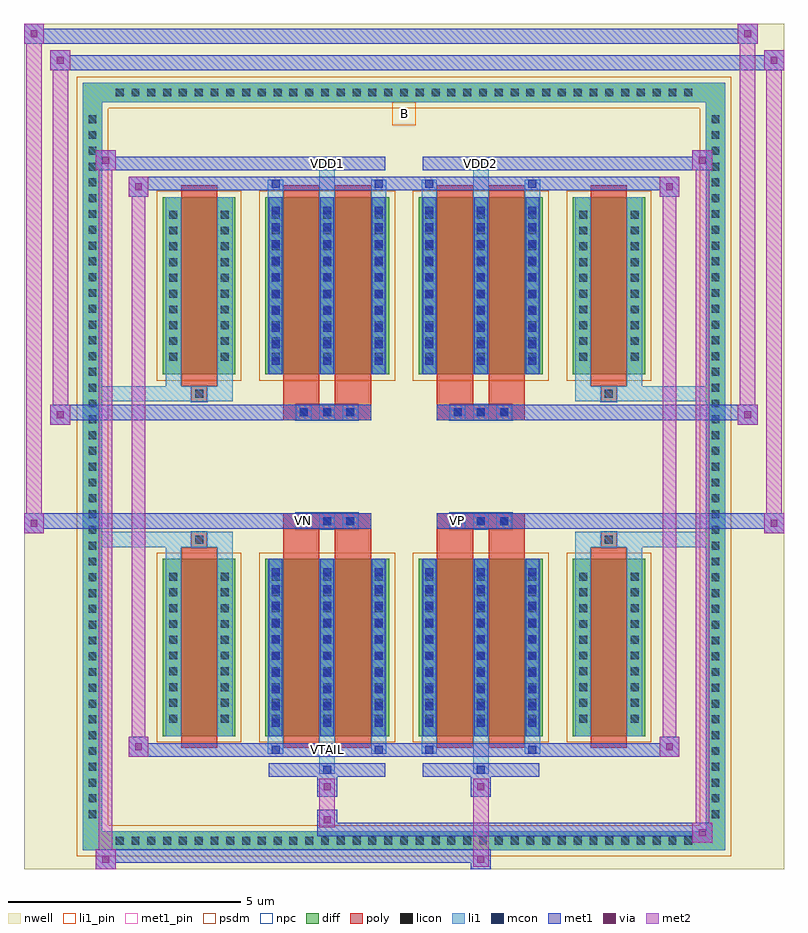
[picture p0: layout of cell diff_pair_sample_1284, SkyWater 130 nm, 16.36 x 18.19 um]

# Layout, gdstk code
import gdstk
lib = gdstk.Library(unit=1e-6, precision=5e-09)
def R(c, l, rs):  # rectangles x0, y0, x1, y1
    for r in rs: c.add(gdstk.rectangle(r[:2], r[2:], *l))
def A(c, l, x, y, w, h, nx, ny, dx, dy):  # array of equal rectangles
    R(c, l, [(x+i*dx, y+j*dy, x+i*dx+w, y+j*dy+h) for i in range(nx) for j in range(ny)])
def P(c, l, *ps):  # polygons
    for p in ps: c.add(gdstk.Polygon(p, *l))
nwell = (64, 20)
diff = (65, 20)
poly = (66, 20)
licon = (66, 44)
li1_pin = (67, 16)
li1 = (67, 20)
mcon = (67, 44)
met1_pin = (68, 16)
met1 = (68, 20)
via = (68, 44)
met2 = (69, 20)
psdm = (94, 20)
npc = (95, 20)

diff_pair_sample_1284 = lib.new_cell('diff_pair_sample_1284')
R(diff_pair_sample_1284, nwell, [(-8.18,-8.66,8.18,9.53), (-5.5,-6.85,-0.01,-0.805), (0.01,-6.85,5.5,-0.805), (-5.5,0.805,-0.01,6.85), (0.01,0.805,5.5,6.85)])
A(diff_pair_sample_1284, diff, -6.325, -8.26, 0.41, 0.41, 37, 2, 0.34, 16.11)
A(diff_pair_sample_1284, diff, -6.91, -7.685, 0.41, 0.41, 1, 45, 0, 0.34)
A(diff_pair_sample_1284, diff, 6.5, -7.685, 0.41, 0.41, 1, 45, 0, 0.34)
R(diff_pair_sample_1284, diff, [(-6.325,-8.26,6.325,-7.85), (-6.91,-7.685,-6.5,7.685), (6.5,-7.685,6.91,7.685), (-5.19,-5.805,-3.63,-1.985), (-2.99,-5.805,-0.32,-1.985), (0.32,-5.805,2.99,-1.985), (3.63,-5.805,5.19,-1.985), (-5.19,1.985,-3.63,5.805), (-2.99,1.985,-0.32,5.805), (0.32,1.985,2.99,5.805), (3.63,1.985,5.19,5.805), (-6.325,7.85,6.325,8.26)])
P(diff_pair_sample_1284, diff, [(6.91,8.26),(-6.91,8.26),(-6.91,-7.85),(-6.5,-7.85),(-6.5,7.85),(6.5,7.85),(6.5,-7.85),(-6.5,-7.85),(-6.91,-7.85),(-6.91,-8.26),(6.91,-8.26)])
A(diff_pair_sample_1284, poly, -2.32, -1.335, 0.33, 0.33, 3, 2, 0.5, 2.34)
A(diff_pair_sample_1284, poly, 0.99, -1.335, 0.33, 0.33, 3, 2, 0.5, 2.34)
R(diff_pair_sample_1284, poly, [(-4.8,-6.055,-4.02,-1.735), (-2.6,-6.055,-1.82,-1.735), (-1.49,-6.055,-0.71,-1.735), (0.71,-6.055,1.49,-1.735), (1.82,-6.055,2.6,-1.735), (4.02,-6.055,4.8,-1.735), (-4.575,-1.735,-4.245,-1.405), (-4.575,-1.735,-4.245,-1.405), (-2.6,-1.735,-1.82,-1.335), (-1.49,-1.735,-0.71,-1.335), (0.71,-1.735,1.49,-1.335), (1.82,-1.735,2.6,-1.335), (4.245,-1.735,4.575,-1.405), (4.245,-1.735,4.575,-1.405), (-2.6,-1.335,-0.71,-1.005), (0.71,-1.335,2.6,-1.005), (-2.6,1.005,-0.71,1.335), (0.71,1.005,2.6,1.335), (-2.6,1.335,-1.82,1.735), (-1.49,1.335,-0.71,1.735), (0.71,1.335,1.49,1.735), (1.82,1.335,2.6,1.735), (-4.575,1.405,-4.245,1.735), (-4.575,1.405,-4.245,1.735), (4.245,1.405,4.575,1.735), (4.245,1.405,4.575,1.735), (-4.8,1.735,-4.02,6.055), (-2.6,1.735,-1.82,6.055), (-1.49,1.735,-0.71,6.055), (0.71,1.735,1.49,6.055), (1.82,1.735,2.6,6.055), (4.02,1.735,4.8,6.055)])
A(diff_pair_sample_1284, licon, -6.205, -8.14, 0.17, 0.17, 37, 2, 0.34, 16.11)
A(diff_pair_sample_1284, licon, -6.79, -7.565, 0.17, 0.17, 1, 45, 0, 0.34)
A(diff_pair_sample_1284, licon, 6.62, -7.565, 0.17, 0.17, 1, 45, 0, 0.34)
A(diff_pair_sample_1284, licon, -5.05, -5.51, 0.17, 0.17, 1, 10, 0, 0.34)
A(diff_pair_sample_1284, licon, -3.94, -5.51, 0.17, 0.17, 1, 10, 0, 0.34)
A(diff_pair_sample_1284, licon, -2.85, -5.51, 0.17, 0.17, 3, 10, 1.11, 0.34)
A(diff_pair_sample_1284, licon, 0.46, -5.51, 0.17, 0.17, 3, 10, 1.11, 0.34)
A(diff_pair_sample_1284, licon, 3.77, -5.51, 0.17, 0.17, 1, 10, 0, 0.34)
A(diff_pair_sample_1284, licon, 4.88, -5.51, 0.17, 0.17, 1, 10, 0, 0.34)
A(diff_pair_sample_1284, licon, -2.24, -1.255, 0.17, 0.17, 3, 2, 0.5, 2.34)
A(diff_pair_sample_1284, licon, 1.07, -1.255, 0.17, 0.17, 3, 2, 0.5, 2.34)
A(diff_pair_sample_1284, licon, -5.05, 2.28, 0.17, 0.17, 1, 10, 0, 0.34)
A(diff_pair_sample_1284, licon, -3.94, 2.28, 0.17, 0.17, 1, 10, 0, 0.34)
A(diff_pair_sample_1284, licon, -2.85, 2.28, 0.17, 0.17, 3, 10, 1.11, 0.34)
A(diff_pair_sample_1284, licon, 0.46, 2.28, 0.17, 0.17, 3, 10, 1.11, 0.34)
A(diff_pair_sample_1284, licon, 3.77, 2.28, 0.17, 0.17, 1, 10, 0, 0.34)
A(diff_pair_sample_1284, licon, 4.88, 2.28, 0.17, 0.17, 1, 10, 0, 0.34)
R(diff_pair_sample_1284, licon, [(-4.495,-1.655,-4.325,-1.485), (4.325,-1.655,4.495,-1.485), (-4.495,1.485,-4.325,1.655), (4.325,1.485,4.495,1.655)])
R(diff_pair_sample_1284, li1_pin, [(-0.25,7.35,0.25,7.85)])
A(diff_pair_sample_1284, li1, -6.285, -8.22, 0.33, 0.33, 37, 2, 0.34, 16.11)
A(diff_pair_sample_1284, li1, -6.87, -7.645, 0.33, 0.33, 1, 45, 0, 0.34)
A(diff_pair_sample_1284, li1, 6.54, -7.645, 0.33, 0.33, 1, 45, 0, 0.34)
A(diff_pair_sample_1284, li1, -2.93, -5.805, 0.33, 3.82, 3, 2, 1.11, 7.79)
A(diff_pair_sample_1284, li1, 0.38, -5.805, 0.33, 3.82, 3, 2, 1.11, 7.79)
A(diff_pair_sample_1284, li1, -2.85, -5.6, 0.17, 0.17, 3, 10, 1.11, 0.36)
A(diff_pair_sample_1284, li1, -2.85, -5.6, 0.17, 3.41, 3, 2, 1.11, 7.79)
A(diff_pair_sample_1284, li1, 0.46, -5.6, 0.17, 0.17, 3, 10, 1.11, 0.36)
A(diff_pair_sample_1284, li1, 0.46, -5.6, 0.17, 3.41, 3, 2, 1.11, 7.79)
A(diff_pair_sample_1284, li1, -5.13, -5.59, 0.33, 0.33, 1, 10, 0, 0.34)
A(diff_pair_sample_1284, li1, -4.02, -5.59, 0.33, 0.33, 1, 10, 0, 0.34)
A(diff_pair_sample_1284, li1, -2.93, -5.59, 0.33, 0.33, 3, 10, 1.11, 0.34)
A(diff_pair_sample_1284, li1, 0.38, -5.59, 0.33, 0.33, 3, 10, 1.11, 0.34)
A(diff_pair_sample_1284, li1, 3.69, -5.59, 0.33, 0.33, 1, 10, 0, 0.34)
A(diff_pair_sample_1284, li1, 4.8, -5.59, 0.33, 0.33, 1, 10, 0, 0.34)
A(diff_pair_sample_1284, li1, -2.32, -1.335, 0.33, 0.33, 3, 2, 0.5, 2.34)
A(diff_pair_sample_1284, li1, 0.99, -1.335, 0.33, 0.33, 3, 2, 0.5, 2.34)
A(diff_pair_sample_1284, li1, -2.85, 2.19, 0.17, 0.17, 3, 10, 1.11, 0.36)
A(diff_pair_sample_1284, li1, 0.46, 2.19, 0.17, 0.17, 3, 10, 1.11, 0.36)
A(diff_pair_sample_1284, li1, -5.13, 2.2, 0.33, 0.33, 1, 10, 0, 0.34)
A(diff_pair_sample_1284, li1, -4.02, 2.2, 0.33, 0.33, 1, 10, 0, 0.34)
A(diff_pair_sample_1284, li1, -2.93, 2.2, 0.33, 0.33, 3, 10, 1.11, 0.34)
A(diff_pair_sample_1284, li1, 0.38, 2.2, 0.33, 0.33, 3, 10, 1.11, 0.34)
A(diff_pair_sample_1284, li1, 3.69, 2.2, 0.33, 0.33, 1, 10, 0, 0.34)
A(diff_pair_sample_1284, li1, 4.8, 2.2, 0.33, 0.33, 1, 10, 0, 0.34)
R(diff_pair_sample_1284, li1, [(-6.91,-8.26,-6.5,-7.85), (-6.91,-8.26,-6.5,-7.85), (-6.5,-8.26,6.5,-7.85), (6.5,-8.26,6.91,-7.85), (6.5,-8.26,6.91,-7.85), (-6.91,-7.85,-6.5,7.85), (6.5,-7.85,6.91,7.85), (-1.82,-6.61,-1.49,-5.805), (-1.74,-6.61,-1.57,-6.44), (1.49,-6.61,1.82,-5.805), (1.57,-6.61,1.74,-6.44), (-2.93,-6.18,-2.6,-5.805), (-2.85,-6.18,-2.68,-6.01), (-0.71,-6.18,-0.38,-5.805), (-0.63,-6.18,-0.46,-6.01), (0.38,-6.18,0.71,-5.805), (0.46,-6.18,0.63,-6.01), (2.6,-6.18,2.93,-5.805), (2.68,-6.18,2.85,-6.01), (-5.13,-5.805,-4.8,-1.985), (-4.02,-5.805,-3.69,-1.985), (3.69,-5.805,4.02,-1.985), (4.8,-5.805,5.13,-1.985), (-5.13,-1.985,-4.8,-1.405), (-4.02,-1.985,-3.69,-1.405), (3.69,-1.985,4.02,-1.405), (4.8,-1.985,5.13,-1.405), (-6.91,-1.735,-4.575,-1.405), (-5.13,-1.735,-4.575,-1.405), (-4.575,-1.735,-4.245,-1.405), (-4.245,-1.735,-3.69,-1.405), (3.69,-1.735,4.245,-1.405), (4.245,-1.735,4.575,-1.405), (4.245,-1.735,6.91,-1.405), (4.575,-1.735,5.13,-1.405), (-6.91,1.405,-4.575,1.735), (-5.13,1.405,-4.575,1.735), (-5.13,1.405,-4.8,1.985), (-4.575,1.405,-4.245,1.735), (-4.245,1.405,-3.69,1.735), (-4.02,1.405,-3.69,1.985), (3.69,1.405,4.245,1.735), (3.69,1.405,4.02,1.985), (4.245,1.405,4.575,1.735), (4.245,1.405,6.91,1.735), (4.575,1.405,5.13,1.735), (4.8,1.405,5.13,1.985), (-5.13,1.985,-4.8,5.805), (-4.02,1.985,-3.69,5.805), (3.69,1.985,4.02,5.805), (4.8,1.985,5.13,5.805), (-2.93,5.805,-2.6,6.18), (-1.82,5.805,-1.49,6.61), (-0.71,5.805,-0.38,6.18), (0.38,5.805,0.71,6.18), (1.49,5.805,1.82,6.61), (2.6,5.805,2.93,6.18), (-2.85,6.01,-2.68,6.18), (-0.63,6.01,-0.46,6.18), (0.46,6.01,0.63,6.18), (2.68,6.01,2.85,6.18), (-1.74,6.44,-1.57,6.61), (1.57,6.44,1.74,6.61), (-6.91,7.85,-6.5,8.26), (-6.91,7.85,-6.5,8.26), (-6.5,7.85,6.5,8.26), (6.5,7.85,6.91,8.26), (6.5,7.85,6.91,8.26)])
A(diff_pair_sample_1284, mcon, -2.85, -5.6, 0.17, 0.17, 3, 10, 1.11, 0.36)
A(diff_pair_sample_1284, mcon, 0.46, -5.6, 0.17, 0.17, 3, 10, 1.11, 0.36)
A(diff_pair_sample_1284, mcon, -2.24, -1.255, 0.17, 0.17, 3, 2, 0.5, 2.34)
A(diff_pair_sample_1284, mcon, 1.07, -1.255, 0.17, 0.17, 3, 2, 0.5, 2.34)
A(diff_pair_sample_1284, mcon, -2.85, 2.19, 0.17, 0.17, 3, 10, 1.11, 0.36)
A(diff_pair_sample_1284, mcon, 0.46, 2.19, 0.17, 0.17, 3, 10, 1.11, 0.36)
R(diff_pair_sample_1284, mcon, [(-1.74,-6.61,-1.57,-6.44), (1.57,-6.61,1.74,-6.44), (-2.85,-6.18,-2.68,-6.01), (-0.63,-6.18,-0.46,-6.01), (0.46,-6.18,0.63,-6.01), (2.68,-6.18,2.85,-6.01), (-2.85,6.01,-2.68,6.18), (-0.63,6.01,-0.46,6.18), (0.46,6.01,0.63,6.18), (2.68,6.01,2.85,6.18), (-1.74,6.44,-1.57,6.61), (1.57,6.44,1.74,6.61)])
R(diff_pair_sample_1284, met1_pin, [(-1.79,-6.22,-1.52,-5.95), (-2.29,-1.295,-2.02,-1.025), (1.02,-1.295,1.29,-1.025), (-1.79,6.4,-1.52,6.67), (1.52,6.4,1.79,6.67)])
A(diff_pair_sample_1284, met1, -2.91, -5.805, 0.29, 3.82, 3, 2, 1.11, 7.79)
A(diff_pair_sample_1284, met1, 0.4, -5.805, 0.29, 3.82, 3, 2, 1.11, 7.79)
A(diff_pair_sample_1284, met1, -2.91, -5.66, 0.29, 0.29, 3, 10, 1.11, 0.36)
A(diff_pair_sample_1284, met1, 0.4, -5.66, 0.29, 0.29, 3, 10, 1.11, 0.36)
A(diff_pair_sample_1284, met1, -2.3, -1.315, 0.29, 0.29, 3, 2, 0.5, 2.34)
A(diff_pair_sample_1284, met1, 1.01, -1.315, 0.29, 0.29, 3, 2, 0.5, 2.34)
A(diff_pair_sample_1284, met1, -2.91, 2.13, 0.29, 0.29, 3, 10, 1.11, 0.36)
A(diff_pair_sample_1284, met1, 0.4, 2.13, 0.29, 0.29, 3, 10, 1.11, 0.36)
R(diff_pair_sample_1284, met1, [(-6.64,-8.66,-6.21,-8.23), (1.44,-8.66,1.87,-8.23), (-6.64,-8.52,1.87,-8.23), (6.21,-8.09,6.64,-7.66), (-1.87,-7.95,6.64,-7.66), (-1.87,-7.81,-1.44,-7.38), (-1.87,-7.1,-1.44,-6.67), (1.44,-7.1,1.87,-6.67), (-2.91,-6.67,-0.4,-6.38), (-1.8,-6.67,-1.51,-6.38), (0.4,-6.67,2.91,-6.38), (1.51,-6.67,1.8,-6.38), (-5.93,-6.24,-5.5,-5.81), (-5.93,-6.24,-2.91,-5.95), (-2.91,-6.24,-2.62,-5.95), (-2.91,-6.24,-0.4,-5.95), (-0.69,-6.24,-0.4,-5.95), (-0.4,-6.24,0.4,-5.95), (0.4,-6.24,0.69,-5.95), (0.4,-6.24,2.91,-5.95), (2.62,-6.24,2.91,-5.95), (2.91,-6.24,5.93,-5.95), (5.5,-6.24,5.93,-5.81), (-8.18,-1.435,-7.75,-1.005), (7.75,-1.435,8.18,-1.005), (-8.18,-1.335,-0.71,-1.005), (-2.6,-1.335,-0.71,-1.005), (0.71,-1.335,2.6,-1.005), (0.71,-1.335,8.18,-1.005), (-7.61,0.905,-7.18,1.335), (7.18,0.905,7.61,1.335), (-7.61,1.005,-2.6,1.335), (-2.6,1.005,-0.71,1.335), (0.71,1.005,2.6,1.335), (2.6,1.005,7.61,1.335), (-5.93,5.81,-5.5,6.24), (5.5,5.81,5.93,6.24), (-5.93,5.95,-2.91,6.24), (-2.91,5.95,-2.62,6.24), (-2.91,5.95,-0.4,6.24), (-0.69,5.95,-0.4,6.24), (-0.4,5.95,0.4,6.24), (0.4,5.95,0.69,6.24), (0.4,5.95,2.91,6.24), (2.62,5.95,2.91,6.24), (2.91,5.95,5.93,6.24), (-6.64,6.38,-6.21,6.81), (-6.64,6.38,-2.91,6.67), (-2.91,6.38,-0.4,6.67), (-1.8,6.38,-1.51,6.67), (0.4,6.38,2.91,6.67), (1.51,6.38,1.8,6.67), (2.91,6.38,6.64,6.67), (6.21,6.38,6.64,6.81), (-7.61,8.53,-7.18,8.96), (-7.61,8.53,-5.5,8.86), (-5.5,8.53,5.5,8.86), (5.5,8.53,8.18,8.86), (7.75,8.53,8.18,8.96), (-8.18,9.1,-7.75,9.53), (-8.18,9.1,-5.5,9.43), (-5.5,9.1,5.5,9.43), (5.5,9.1,7.61,9.43), (7.18,9.1,7.61,9.53)])
R(diff_pair_sample_1284, via, [(-6.5,-8.52,-6.35,-8.37), (1.58,-8.52,1.73,-8.37), (6.35,-7.95,6.5,-7.8), (-1.73,-7.67,-1.58,-7.52), (-1.73,-6.96,-1.58,-6.81), (1.58,-6.96,1.73,-6.81), (-5.79,-6.1,-5.64,-5.95), (5.64,-6.1,5.79,-5.95), (-8.04,-1.295,-7.89,-1.145), (7.89,-1.295,8.04,-1.145), (-7.47,1.045,-7.32,1.195), (7.32,1.045,7.47,1.195), (-5.79,5.95,-5.64,6.1), (5.64,5.95,5.79,6.1), (-6.5,6.52,-6.35,6.67), (6.35,6.52,6.5,6.67), (-7.47,8.67,-7.32,8.82), (7.89,8.67,8.04,8.82), (-8.04,9.24,-7.89,9.39), (7.32,9.24,7.47,9.39)])
R(diff_pair_sample_1284, met2, [(-6.64,-8.66,-6.21,-8.23), (-6.57,-8.66,-6.28,6.81), (-6.28,-8.66,-6.21,-8.23), (-6.59,-8.61,-6.26,-8.28), (1.49,-8.61,1.82,-8.28), (1.49,-8.28,1.82,-7.05), (6.21,-8.09,6.64,-7.66), (6.28,-8.09,6.57,6.81), (6.57,-8.09,6.64,-7.66), (6.26,-8.04,6.59,-7.71), (-1.82,-7.76,-1.49,-7.43), (-1.82,-7.43,-1.49,-7.05), (-1.82,-7.05,-1.49,-6.72), (1.49,-7.05,1.82,-6.72), (-5.93,-6.24,-5.5,-5.81), (-5.86,-6.24,-5.57,6.24), (-5.57,-6.24,-5.5,-5.81), (5.5,-6.24,5.93,-5.81), (5.57,-6.24,5.86,6.24), (5.86,-6.24,5.93,-5.81), (-5.88,-6.19,-5.55,-5.86), (5.55,-6.19,5.88,-5.86), (-8.18,-1.435,-7.75,-1.005), (-8.13,-1.435,-7.8,9.53), (-7.8,-1.435,-7.75,-1.005), (7.75,-1.435,8.18,-1.005), (7.8,-1.435,8.13,8.96), (8.13,-1.435,8.18,-1.005), (-8.13,-1.385,-7.8,-1.055), (7.8,-1.385,8.13,-1.055), (-7.61,0.905,-7.18,1.335), (-7.56,0.905,-7.23,8.96), (-7.23,0.905,-7.18,1.335), (7.18,0.905,7.61,1.335), (7.23,0.905,7.56,9.53), (7.56,0.905,7.61,1.335), (-7.56,0.955,-7.23,1.285), (7.23,0.955,7.56,1.285), (-5.93,5.81,-5.5,6.24), (-5.57,5.81,-5.5,6.24), (5.5,5.81,5.93,6.24), (5.86,5.81,5.93,6.24), (-5.88,5.86,-5.55,6.19), (5.55,5.86,5.88,6.19), (-6.64,6.38,-6.21,6.81), (-6.28,6.38,-6.21,6.81), (6.21,6.38,6.64,6.81), (6.57,6.38,6.64,6.81), (-6.59,6.43,-6.26,6.76), (6.26,6.43,6.59,6.76), (-7.61,8.53,-7.18,8.96), (-7.23,8.53,-7.18,8.96), (7.75,8.53,8.18,8.96), (8.13,8.53,8.18,8.96), (-7.56,8.58,-7.23,8.91), (7.8,8.58,8.13,8.91), (-8.18,9.1,-7.75,9.53), (-7.8,9.1,-7.75,9.53), (7.18,9.1,7.61,9.53), (7.56,9.1,7.61,9.53), (-8.13,9.15,-7.8,9.48), (7.23,9.15,7.56,9.48)])
R(diff_pair_sample_1284, psdm, [(-5.32,-5.935,-3.5,-1.855), (-3.12,-5.935,-0.19,-1.855), (0.19,-5.935,3.12,-1.855), (3.5,-5.935,5.32,-1.855), (-5.32,1.855,-3.5,5.935), (-3.12,1.855,-0.19,5.935), (0.19,1.855,3.12,5.935), (3.5,1.855,5.32,5.935)])
P(diff_pair_sample_1284, psdm, [(7.04,8.39),(-7.04,8.39),(-7.04,-7.72),(-6.37,-7.72),(-6.37,7.72),(6.37,7.72),(6.37,-7.72),(-6.37,-7.72),(-7.04,-7.72),(-7.04,-8.39),(7.04,-8.39)])
A(diff_pair_sample_1284, npc, -2.34, -1.355, 0.37, 0.37, 3, 2, 0.5, 2.34)
A(diff_pair_sample_1284, npc, 0.97, -1.355, 0.37, 0.37, 3, 2, 0.5, 2.34)
R(diff_pair_sample_1284, npc, [(-4.595,-1.755,-4.225,-1.385), (4.225,-1.755,4.595,-1.385), (-2.34,-1.355,-1.47,-0.985), (-2.34,-1.355,-1.47,-0.985), (-1.84,-1.355,-0.97,-0.985), (-1.84,-1.355,-0.97,-0.985), (0.97,-1.355,1.84,-0.985), (0.97,-1.355,1.84,-0.985), (1.47,-1.355,2.34,-0.985), (1.47,-1.355,2.34,-0.985), (-2.34,0.985,-1.47,1.355), (-2.34,0.985,-1.47,1.355), (-1.84,0.985,-0.97,1.355), (-1.84,0.985,-0.97,1.355), (0.97,0.985,1.84,1.355), (0.97,0.985,1.84,1.355), (1.47,0.985,2.34,1.355), (1.47,0.985,2.34,1.355), (-4.595,1.385,-4.225,1.755), (4.225,1.385,4.595,1.755)])
diff_pair_sample_1284.add(gdstk.Label('VTAIL', (-1.655,-6.085), layer=68, texttype=5))
diff_pair_sample_1284.add(gdstk.Label('VN', (-2.155,-1.16), layer=68, texttype=5))
diff_pair_sample_1284.add(gdstk.Label('VP', (1.155,-1.16), layer=68, texttype=5))
diff_pair_sample_1284.add(gdstk.Label('B', (0,7.6), layer=67, texttype=5))
diff_pair_sample_1284.add(gdstk.Label('VDD2', (1.655,6.535), layer=68, texttype=5))
diff_pair_sample_1284.add(gdstk.Label('VDD1', (-1.655,6.535), layer=68, texttype=5))

lib.write_gds('diff_pair_sample_1284.gds')
